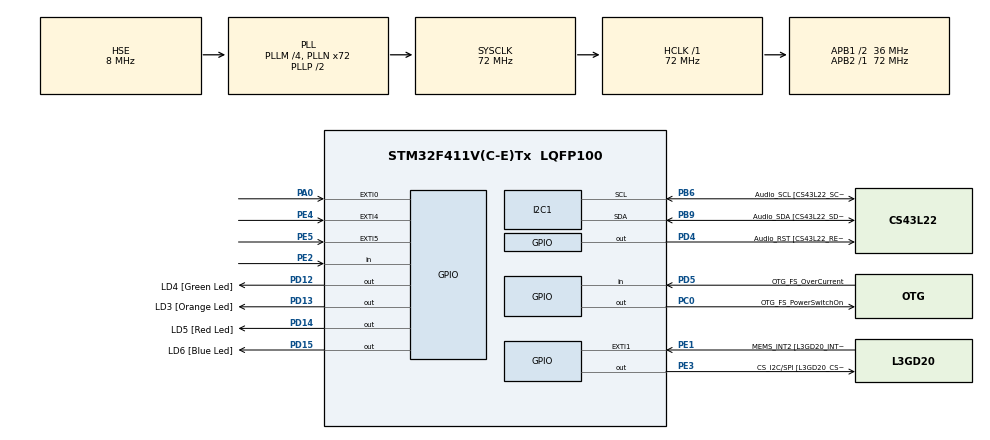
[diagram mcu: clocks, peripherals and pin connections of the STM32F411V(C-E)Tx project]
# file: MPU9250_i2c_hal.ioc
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Mcu.Family=STM32F4
Mcu.Name=STM32F411V(C-E)Tx
Mcu.Package=LQFP100
NVIC.PriorityGroup=NVIC_PRIORITYGROUP_0
PA0-WKUP.GPIO_ModeDefaultEXTI=GPIO_MODE_EVT_RISING
PA0-WKUP.Signal=GPXTI0
PA10.GPIO_Label=OTG_FS_ID
PA10.Signal=USB_OTG_FS_ID
PA11.GPIO_Label=OTG_FS_DM
PA11.Signal=USB_OTG_FS_DM
PA12.GPIO_Label=OTG_FS_DP
PA12.Signal=USB_OTG_FS_DP
PA13.GPIO_Label=SWDIO
PA13.Mode=Serial_Wire
PA13.Signal=SYS_JTMS-SWDIO
PA14.GPIO_Label=SWCLK
PA14.Mode=Serial_Wire
PA14.Signal=SYS_JTCK-SWCLK
PA4.GPIO_Label=I2S3_WS [CS43L22_LRCK]
PA4.GPIO_Mode=GPIO_MODE_AF_PP
PA4.GPIO_PuPd=GPIO_NOPULL
PA4.GPIO_Speed=GPIO_SPEED_FREQ_LOW
PA4.Signal=I2S3_WS
PA5.GPIO_Label=SPI1_SCK [L3GD20_SC/SPC]
PA5.Signal=SPI1_SCK
PA6.GPIO_Label=SPI1_MISO [L3GD20_AS0/SDO]
PA6.Signal=SPI1_MISO
PA7.GPIO_Label=SPI1_MOSI [L3GD20_SDA/SDI/SDO]
PA7.Signal=SPI1_MOSI
PA9.GPIO_Label=VBUS_FS
PA9.Signal=USB_OTG_FS_VBUS
PB10.GPIO_Label=CLK_IN [MP45DT02_CLK]
PB10.Signal=I2S2_CK
PB12.Signal=I2S2_WS
PB3.GPIO_Label=SWO
PB3.Signal=SYS_JTDO-SWO
PB6.GPIO_Label=Audio_SCL [CS43L22_SCL]
PB6.GPIO_Mode=GPIO_MODE_AF_OD
PB6.GPIO_PuPd=GPIO_NOPULL
PB6.GPIO_Speed=GPIO_SPEED_FREQ_LOW
PB6.Mode=I2C
PB6.Signal=I2C1_SCL
PB9.GPIO_Label=Audio_SDA [CS43L22_SDA]
PB9.GPIO_Mode=GPIO_MODE_AF_OD
PB9.GPIO_PuPd=GPIO_NOPULL
PB9.GPIO_Speed=GPIO_SPEED_FREQ_LOW
PB9.Mode=I2C
PB9.Signal=I2C1_SDA
PC0.GPIO_Label=OTG_FS_PowerSwitchOn
PC0.PinState=GPIO_PIN_SET
PC0.Signal=GPIO_Output
PC10.GPIO_Label=I2S3_SCK [CS43L22_SCLK]
PC10.GPIO_Mode=GPIO_MODE_AF_PP
PC10.GPIO_PuPd=GPIO_NOPULL
PC10.GPIO_Speed=GPIO_SPEED_FREQ_LOW
PC10.Signal=I2S3_CK
PC12.GPIO_Label=I2S3_SD [CS43L22_SDIN]
PC12.GPIO_Mode=GPIO_MODE_AF_PP
PC12.GPIO_PuPd=GPIO_NOPULL
PC12.GPIO_Speed=GPIO_SPEED_FREQ_LOW
PC12.Signal=I2S3_SD
PC14-OSC32_IN.GPIO_Label=PC14-OSC32_IN
PC14-OSC32_IN.Signal=RCC_OSC32_IN
PC15-OSC32_OUT.GPIO_Label=PC15-OSC32_OUT
PC15-OSC32_OUT.Signal=RCC_OSC32_OUT
PC3.GPIO_Label=PDM_OUT [MP45DT02_DOUT]
PC3.Signal=I2S2_SD
PC7.GPIO_Label=I2S3_MCK [CS43L22_MCLK]
PC7.GPIO_Mode=GPIO_MODE_AF_PP
PC7.GPIO_PuPd=GPIO_NOPULL
PC7.GPIO_Speed=GPIO_SPEED_FREQ_LOW
PC7.Signal=I2S3_MCK
PD12.GPIO_Label=LD4 [Green Led]
PD12.GPIO_PuPd=GPIO_NOPULL
PD12.GPIO_Speed=GPIO_SPEED_FREQ_LOW
PD12.Signal=GPIO_Output
PD13.GPIO_Label=LD3 [Orange Led]
PD13.GPIO_PuPd=GPIO_NOPULL
PD13.GPIO_Speed=GPIO_SPEED_FREQ_LOW
PD13.Signal=GPIO_Output
PD14.GPIO_Label=LD5 [Red Led]
PD14.GPIO_PuPd=GPIO_NOPULL
PD14.GPIO_Speed=GPIO_SPEED_FREQ_LOW
PD14.Signal=GPIO_Output
PD15.GPIO_Label=LD6 [Blue Led]
PD15.GPIO_PuPd=GPIO_NOPULL
PD15.GPIO_Speed=GPIO_SPEED_FREQ_LOW
PD15.Signal=GPIO_Output
PD4.GPIO_Label=Audio_RST [CS43L22_RESET]
PD4.Signal=GPIO_Output
PD5.GPIO_Label=OTG_FS_OverCurrent
PD5.Signal=GPIO_Input
PE1.GPIO_Label=MEMS_INT2 [L3GD20_INT2]
PE1.GPIO_ModeDefaultEXTI=GPIO_MODE_EVT_RISING
PE1.Signal=GPXTI1
PE2.Signal=GPIO_Input
PE3.GPIO_Label=CS_I2C/SPI [L3GD20_CS_I2C/SPI]
PE3.Signal=GPIO_Output
PE4.GPIO_ModeDefaultEXTI=GPIO_MODE_EVT_RISING
PE4.Signal=GPXTI4
PE5.GPIO_ModeDefaultEXTI=GPIO_MODE_EVT_RISING
PE5.Signal=GPXTI5
PH0\ -\ OSC_IN.GPIO_Label=PH0-OSC_IN
PH0\ -\ OSC_IN.Mode=HSE-External-Oscillator
PH0\ -\ OSC_IN.Signal=RCC_OSC_IN
PH1\ -\ OSC_OUT.GPIO_Label=PH1-OSC_OUT
PH1\ -\ OSC_OUT.Mode=HSE-External-Oscillator
PH1\ -\ OSC_OUT.Signal=RCC_OSC_OUT
ProjectManager.HeapSize=0x200
ProjectManager.StackSize=0x400
ProjectManager.TargetToolchain=STM32CubeIDE
RCC.48MHZClocksFreq_Value=18000000
RCC.AHBFreq_Value=72000000
RCC.APB1CLKDivider=RCC_HCLK_DIV2
RCC.APB1Freq_Value=36000000
RCC.APB1TimFreq_Value=72000000
RCC.APB2Freq_Value=72000000
RCC.APB2TimFreq_Value=72000000
RCC.CortexFreq_Value=72000000
RCC.HCLKFreq_Value=72000000
RCC.HSE_VALUE=8000000
RCC.HSI_VALUE=16000000
RCC.LSE_VALUE=32768
RCC.PLLI2SM=5
RCC.PLLI2SN=200
RCC.PLLM=4
RCC.PLLN=72
RCC.PLLQ=8
RCC.PLLSourceVirtual=RCC_PLLSOURCE_HSE
RCC.SYSCLKFreq_VALUE=72000000
RCC.SYSCLKSource=RCC_SYSCLKSOURCE_PLLCLK
RCC.VCOOutputFreq_Value=144000000
board=STM32F411E-DISCO

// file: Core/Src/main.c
/* USER CODE BEGIN Header */
/**
  ******************************************************************************
  * @file           : main.c
  * @brief          : Main program body
  ******************************************************************************
  * @attention
  *
  * Copyright (c) 2022 STMicroelectronics.
  * All rights reserved.
  *
  * This software is licensed under terms that can be found in the LICENSE file
  * in the root directory of this software component.
  * If no LICENSE file comes with this software, it is provided AS-IS.
  *
  ******************************************************************************
  */
/* USER CODE END Header */
#include "main.h"

 I2C_HandleTypeDef hi2c1;

void SystemClock_Config(void);
static void MX_GPIO_Init(void);
static void MX_I2C1_Init(void);

/* USER CODE BEGIN 0 */

#define MPU9250_ADDR		0xD0
#define WHO_AM_I_REG		0x75
#define PWR_MGMT_1_REG		0x6B
#define SMPLRT_DIV_REG		0x19
#define ACCEL_CONFIG_REG	0x1C
#define GYRO_CONFIG_REG		0x1B
#define ACCEL_XOUT_H_REG	0x3B
#define GYRO_XOUT_H_REG		0x43
#define TEMP_OUT_H_REG		0x41

int32_t Accel_X_RAW = 0;
int32_t Accel_Y_RAW = 0;
int32_t Accel_Z_RAW = 0;

int32_t Gyro_X_RAW = 0;
int32_t Gyro_Y_RAW = 0;
int32_t Gyro_Z_RAW = 0;

float Ax, Ay, Az, Gx, Gy, Gz;

void MPU9250_Init(void){
	uint8_t check, Data;
	HAL_I2C_Mem_Read(&hi2c1, MPU9250_ADDR, WHO_AM_I_REG, 1, &check, 1, 1000);

	if(check == 104){
		Data = 0;
		HAL_I2C_Mem_Write(&hi2c1, MPU9250_ADDR, PWR_MGMT_1_REG, 1, &Data, 1, 1000);
		Data = 0x07;
		HAL_I2C_Mem_Write(&hi2c1, MPU9250_ADDR, SMPLRT_DIV_REG, 1, &Data, 1, 1000);
		Data = 0x00;
		HAL_I2C_Mem_Write(&hi2c1, MPU9250_ADDR, ACCEL_CONFIG_REG, 1, &Data, 1, 1000);
		Data = 0x00;
		HAL_I2C_Mem_Write(&hi2c1, MPU9250_ADDR, GYRO_CONFIG_REG, 1, &Data, 1, 1000);
	}
}

void MPU9250_Read_Accel(void){
	uint8_t Rec_Data[6];

	HAL_I2C_Mem_Read(&hi2c1, MPU9250_ADDR, ACCEL_XOUT_H_REG, 1, Rec_Data, 6, 1000);

	Accel_X_RAW = (int16_t)(Rec_Data[0] << 8 | Rec_Data[1]);
	Accel_Y_RAW = (int16_t)(Rec_Data[2] << 8 | Rec_Data[3]);
	Accel_Z_RAW = (int16_t)(Rec_Data[4] << 8 | Rec_Data[5]);

	Ax = Accel_X_RAW / 16384.0;
	Ay = Accel_Y_RAW / 16384.0;
	Az = Accel_Z_RAW / 16384.0;
}

void MPU9250_Read_Gyro(void){
	uint8_t Rec_Data[6];

	HAL_I2C_Mem_Read(&hi2c1, MPU9250_ADDR, GYRO_XOUT_H_REG, 1, Rec_Data, 6, 1000);

	Gyro_X_RAW = (int16_t)(Rec_Data[0] << 8 | Rec_Data[1]);
	Gyro_Y_RAW = (int16_t)(Rec_Data[2] << 8 | Rec_Data[3]);
	Gyro_Z_RAW = (int16_t)(Rec_Data[4] << 8 | Rec_Data[5]);

	Gx = Gyro_X_RAW / 131.0;
	Gy = Gyro_Y_RAW / 131.0;
	Gz = Gyro_Z_RAW / 131.0;
}

/* USER CODE END 0 */

int main(void)
{

  /* MCU Configuration--------------------------------------------------------*/

  /* Reset of all peripherals, Initializes the Flash interface and the Systick. */
  HAL_Init();

  /* Configure the system clock */
  SystemClock_Config();

  /* Initialize all configured peripherals */
  MX_GPIO_Init();
  MX_I2C1_Init();
  /* USER CODE BEGIN 2 */

  MPU9250_Init();

  HAL_Delay(1000);

  /* USER CODE END 2 */

  /* Infinite loop */
  while (1)
  {
	MPU9250_Read_Accel();
	MPU9250_Read_Gyro();

  }
}

void SystemClock_Config(void)
{
  RCC_OscInitTypeDef RCC_OscInitStruct = {0};
  RCC_ClkInitTypeDef RCC_ClkInitStruct = {0};

  /** Configure the main internal regulator output voltage
  */
  __HAL_RCC_PWR_CLK_ENABLE();
  __HAL_PWR_VOLTAGESCALING_CONFIG(PWR_REGULATOR_VOLTAGE_SCALE1);

  /** Initializes the RCC Oscillators according to the specified parameters
  * in the RCC_OscInitTypeDef structure.
  */
  RCC_OscInitStruct.OscillatorType = RCC_OSCILLATORTYPE_HSE;
  RCC_OscInitStruct.HSEState = RCC_HSE_ON;
  RCC_OscInitStruct.PLL.PLLState = RCC_PLL_ON;
  RCC_OscInitStruct.PLL.PLLSource = RCC_PLLSOURCE_HSE;
  RCC_OscInitStruct.PLL.PLLM = 4;
  RCC_OscInitStruct.PLL.PLLN = 72;
  RCC_OscInitStruct.PLL.PLLP = RCC_PLLP_DIV2;
  RCC_OscInitStruct.PLL.PLLQ = 8;
  if (HAL_RCC_OscConfig(&RCC_OscInitStruct) != HAL_OK)
  {
    Error_Handler();
  }

  /** Initializes the CPU, AHB and APB buses clocks
  */
  RCC_ClkInitStruct.ClockType = RCC_CLOCKTYPE_HCLK|RCC_CLOCKTYPE_SYSCLK
                              |RCC_CLOCKTYPE_PCLK1|RCC_CLOCKTYPE_PCLK2;
  RCC_ClkInitStruct.SYSCLKSource = RCC_SYSCLKSOURCE_PLLCLK;
  RCC_ClkInitStruct.AHBCLKDivider = RCC_SYSCLK_DIV1;
  RCC_ClkInitStruct.APB1CLKDivider = RCC_HCLK_DIV2;
  RCC_ClkInitStruct.APB2CLKDivider = RCC_HCLK_DIV1;

  if (HAL_RCC_ClockConfig(&RCC_ClkInitStruct, FLASH_LATENCY_2) != HAL_OK)
  {
    Error_Handler();
  }
}

static void MX_I2C1_Init(void)
{

  hi2c1.Instance = I2C1;
  hi2c1.Init.ClockSpeed = 100000;
  hi2c1.Init.DutyCycle = I2C_DUTYCYCLE_2;
  hi2c1.Init.OwnAddress1 = 0;
  hi2c1.Init.AddressingMode = I2C_ADDRESSINGMODE_7BIT;
  hi2c1.Init.DualAddressMode = I2C_DUALADDRESS_DISABLE;
  hi2c1.Init.OwnAddress2 = 0;
  hi2c1.Init.GeneralCallMode = I2C_GENERALCALL_DISABLE;
  hi2c1.Init.NoStretchMode = I2C_NOSTRETCH_DISABLE;
  if (HAL_I2C_Init(&hi2c1) != HAL_OK)
  {
    Error_Handler();
  }

}

static void MX_GPIO_Init(void)
{
  GPIO_InitTypeDef GPIO_InitStruct = {0};

  /* GPIO Ports Clock Enable */
  __HAL_RCC_GPIOE_CLK_ENABLE();
  __HAL_RCC_GPIOC_CLK_ENABLE();
  __HAL_RCC_GPIOH_CLK_ENABLE();
  __HAL_RCC_GPIOA_CLK_ENABLE();
  __HAL_RCC_GPIOB_CLK_ENABLE();
  __HAL_RCC_GPIOD_CLK_ENABLE();

  /*Configure GPIO pin Output Level */
  HAL_GPIO_WritePin(CS_I2C_SPI_GPIO_Port, CS_I2C_SPI_Pin, GPIO_PIN_RESET);

  /*Configure GPIO pin Output Level */
  HAL_GPIO_WritePin(OTG_FS_PowerSwitchOn_GPIO_Port, OTG_FS_PowerSwitchOn_Pin, GPIO_PIN_SET);

  /*Configure GPIO pin Output Level */
  HAL_GPIO_WritePin(GPIOD, LD4_Pin|LD3_Pin|LD5_Pin|LD6_Pin
                          |Audio_RST_Pin, GPIO_PIN_RESET);

  /*Configure GPIO pin : PE2 */
  GPIO_InitStruct.Pin = GPIO_PIN_2;
  GPIO_InitStruct.Mode = GPIO_MODE_INPUT;
  GPIO_InitStruct.Pull = GPIO_NOPULL;
  HAL_GPIO_Init(GPIOE, &GPIO_InitStruct);

  /*Configure GPIO pin : CS_I2C_SPI_Pin */
  GPIO_InitStruct.Pin = CS_I2C_SPI_Pin;
  GPIO_InitStruct.Mode = GPIO_MODE_OUTPUT_PP;
  GPIO_InitStruct.Pull = GPIO_NOPULL;
  GPIO_InitStruct.Speed = GPIO_SPEED_FREQ_LOW;
  HAL_GPIO_Init(CS_I2C_SPI_GPIO_Port, &GPIO_InitStruct);

  /*Configure GPIO pins : PE4 PE5 MEMS_INT2_Pin */
  GPIO_InitStruct.Pin = GPIO_PIN_4|GPIO_PIN_5|MEMS_INT2_Pin;
  GPIO_InitStruct.Mode = GPIO_MODE_EVT_RISING;
  GPIO_InitStruct.Pull = GPIO_NOPULL;
  HAL_GPIO_Init(GPIOE, &GPIO_InitStruct);

  /*Configure GPIO pin : OTG_FS_PowerSwitchOn_Pin */
  GPIO_InitStruct.Pin = OTG_FS_PowerSwitchOn_Pin;
  GPIO_InitStruct.Mode = GPIO_MODE_OUTPUT_PP;
  GPIO_InitStruct.Pull = GPIO_NOPULL;
  GPIO_InitStruct.Speed = GPIO_SPEED_FREQ_LOW;
  HAL_GPIO_Init(OTG_FS_PowerSwitchOn_GPIO_Port, &GPIO_InitStruct);

  /*Configure GPIO pin : PDM_OUT_Pin */
  GPIO_InitStruct.Pin = PDM_OUT_Pin;
  GPIO_InitStruct.Mode = GPIO_MODE_AF_PP;
  GPIO_InitStruct.Pull = GPIO_NOPULL;
  GPIO_InitStruct.Speed = GPIO_SPEED_FREQ_LOW;
  GPIO_InitStruct.Alternate = GPIO_AF5_SPI2;
  HAL_GPIO_Init(PDM_OUT_GPIO_Port, &GPIO_InitStruct);

  /*Configure GPIO pin : PA0 */
  GPIO_InitStruct.Pin = GPIO_PIN_0;
  GPIO_InitStruct.Mode = GPIO_MODE_EVT_RISING;
  GPIO_InitStruct.Pull = GPIO_NOPULL;
  HAL_GPIO_Init(GPIOA, &GPIO_InitStruct);

  /*Configure GPIO pin : I2S3_WS_Pin */
  GPIO_InitStruct.Pin = I2S3_WS_Pin;
  GPIO_InitStruct.Mode = GPIO_MODE_AF_PP;
  GPIO_InitStruct.Pull = GPIO_NOPULL;
  GPIO_InitStruct.Speed = GPIO_SPEED_FREQ_LOW;
  GPIO_InitStruct.Alternate = GPIO_AF6_SPI3;
  HAL_GPIO_Init(I2S3_WS_GPIO_Port, &GPIO_InitStruct);

  /*Configure GPIO pins : SPI1_SCK_Pin SPI1_MISO_Pin SPI1_MOSI_Pin */
  GPIO_InitStruct.Pin = SPI1_SCK_Pin|SPI1_MISO_Pin|SPI1_MOSI_Pin;
  GPIO_InitStruct.Mode = GPIO_MODE_AF_PP;
  GPIO_InitStruct.Pull = GPIO_NOPULL;
  GPIO_InitStruct.Speed = GPIO_SPEED_FREQ_VERY_HIGH;
  GPIO_InitStruct.Alternate = GPIO_AF5_SPI1;
  HAL_GPIO_Init(GPIOA, &GPIO_InitStruct);

  /*Configure GPIO pins : CLK_IN_Pin PB12 */
  GPIO_InitStruct.Pin = CLK_IN_Pin|GPIO_PIN_12;
  GPIO_InitStruct.Mode = GPIO_MODE_AF_PP;
  GPIO_InitStruct.Pull = GPIO_NOPULL;
  GPIO_InitStruct.Speed = GPIO_SPEED_FREQ_LOW;
  GPIO_InitStruct.Alternate = GPIO_AF5_SPI2;
  HAL_GPIO_Init(GPIOB, &GPIO_InitStruct);

  /*Configure GPIO pins : LD4_Pin LD3_Pin LD5_Pin LD6_Pin
                           Audio_RST_Pin */
  GPIO_InitStruct.Pin = LD4_Pin|LD3_Pin|LD5_Pin|LD6_Pin
                          |Audio_RST_Pin;
  GPIO_InitStruct.Mode = GPIO_MODE_OUTPUT_PP;
  GPIO_InitStruct.Pull = GPIO_NOPULL;
  GPIO_InitStruct.Speed = GPIO_SPEED_FREQ_LOW;
  HAL_GPIO_Init(GPIOD, &GPIO_InitStruct);

  /*Configure GPIO pins : I2S3_MCK_Pin I2S3_SCK_Pin I2S3_SD_Pin */
  GPIO_InitStruct.Pin = I2S3_MCK_Pin|I2S3_SCK_Pin|I2S3_SD_Pin;
  GPIO_InitStruct.Mode = GPIO_MODE_AF_PP;
  GPIO_InitStruct.Pull = GPIO_NOPULL;
  GPIO_InitStruct.Speed = GPIO_SPEED_FREQ_LOW;
  GPIO_InitStruct.Alternate = GPIO_AF6_SPI3;
  HAL_GPIO_Init(GPIOC, &GPIO_InitStruct);

  /*Configure GPIO pin : VBUS_FS_Pin */
  GPIO_InitStruct.Pin = VBUS_FS_Pin;
  GPIO_InitStruct.Mode = GPIO_MODE_INPUT;
  GPIO_InitStruct.Pull = GPIO_NOPULL;
  HAL_GPIO_Init(VBUS_FS_GPIO_Port, &GPIO_InitStruct);

  /*Configure GPIO pins : OTG_FS_ID_Pin OTG_FS_DM_Pin OTG_FS_DP_Pin */
  GPIO_InitStruct.Pin = OTG_FS_ID_Pin|OTG_FS_DM_Pin|OTG_FS_DP_Pin;
  GPIO_InitStruct.Mode = GPIO_MODE_AF_PP;
  GPIO_InitStruct.Pull = GPIO_NOPULL;
  GPIO_InitStruct.Speed = GPIO_SPEED_FREQ_VERY_HIGH;
  GPIO_InitStruct.Alternate = GPIO_AF10_OTG_FS;
  HAL_GPIO_Init(GPIOA, &GPIO_InitStruct);

  /*Configure GPIO pin : OTG_FS_OverCurrent_Pin */
  GPIO_InitStruct.Pin = OTG_FS_OverCurrent_Pin;
  GPIO_InitStruct.Mode = GPIO_MODE_INPUT;
  GPIO_InitStruct.Pull = GPIO_NOPULL;
  HAL_GPIO_Init(OTG_FS_OverCurrent_GPIO_Port, &GPIO_InitStruct);

}

void Error_Handler(void)
{
  __disable_irq();
  while (1)
  {
  }
}
